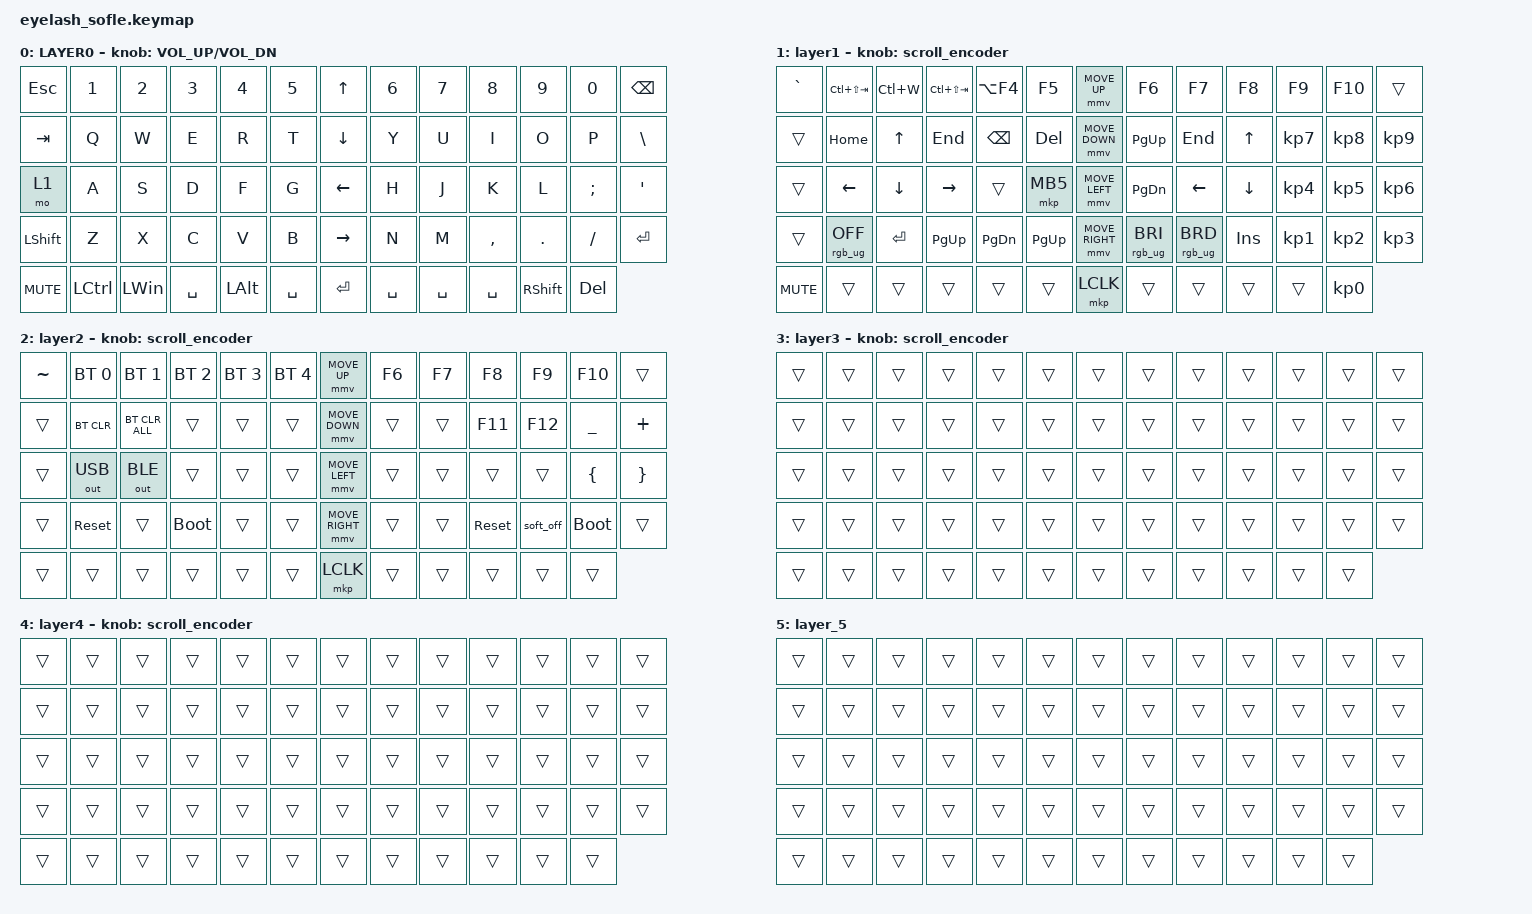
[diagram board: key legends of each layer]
#define ZMK_POINTING_DEFAULT_MOVE_VAL 1200  // 600
#define ZMK_POINTING_DEFAULT_SCRL_VAL 25   // 10

#include <input/processors.dtsi>
#include <zephyr/dt-bindings/input/input-event-codes.h>
#include <behaviors.dtsi>
#include <dt-bindings/zmk/bt.h>
#include <dt-bindings/zmk/keys.h>
#include <dt-bindings/zmk/outputs.h>
#include <dt-bindings/zmk/pointing.h>
#include <dt-bindings/zmk/rgb.h>

&mmv_input_listener { input-processors = <&zip_xy_scaler 2 1>; };

&msc_input_listener { input-processors = <&zip_scroll_scaler 2 1>; };

&msc {
    acceleration-exponent = <1>;      // 0
    time-to-max-speed-ms = <100>;       // 300
    delay-ms = <0>;                   // 0
};

&mmv {
    time-to-max-speed-ms = <500>;
    acceleration-exponent = <1>;
    trigger-period-ms = <16>;
};

&soft_off { hold-time-ms = <2000>; };

/ {
    scroll_encoder: scroll_encoder {
        compatible = "zmk,behavior-sensor-rotate";
        #sensor-binding-cells = <0>;
        bindings = <&msc SCRL_DOWN>, <&msc SCRL_UP>;

        tap-ms = <100>;
    };

    behaviors {
    };

    combos {
        compatible = "zmk,combos";

        softoff {
            bindings = <&soft_off>;
            key-positions = <14 28 40>;
        };
    };

    macros {
        SHIFT_MCLK: SHIFT_MCLK {
            compatible = "zmk,behavior-macro";
            #binding-cells = <0>;
            bindings =
                <&macro_press>,
                <&kp LEFT_SHIFT>,
                <&macro_press>,
                <&mkp MB3>,
                <&macro_pause_for_release>,
                <&macro_release>,
                <&kp LEFT_SHIFT &mkp MB3>;

            label = "SHIFT_MCLK";
        };
    };

    keymap {
        compatible = "zmk,keymap";

        layer0 {
            bindings = <
&kp ESC         &kp N1     &kp N2        &kp N3     &kp N4        &kp N5       &kp UP_ARROW     &kp N6     &kp N7     &kp N8     &kp N9           &kp N0      &kp BACKSPACE
&kp TAB         &kp Q      &kp W         &kp E      &kp R         &kp T        &kp DOWN_ARROW   &kp Y      &kp U      &kp I      &kp O            &kp P       &kp BSLH
&mo 1           &kp A      &kp S         &kp D      &kp F         &kp G        &kp LEFT_ARROW   &kp H      &kp J      &kp K      &kp L            &kp SEMI    &kp APOS
&kp LEFT_SHIFT  &kp Z      &kp X         &kp C      &kp V         &kp B        &kp RIGHT_ARROW  &kp N      &kp M      &kp COMMA  &kp DOT          &kp FSLH    &kp ENTER
&kp C_MUTE      &kp LCTRL  &kp LEFT_WIN  &kp SPACE  &kp LEFT_ALT  &kp SPACE    &kp ENTER        &kp SPACE  &kp SPACE  &kp SPACE  &kp RIGHT_SHIFT  &kp DELETE
            >;

            sensor-bindings = <&inc_dec_kp C_VOLUME_UP C_VOL_DN>;
            display-name = "LAYER0";
        };

        layer_1 {
            bindings = <
&kp GRAVE   &kp LC(LS(TAB))  &kp LC(W)     &kp LC(LS(TAB))  &kp LA(F4)     &kp F5        &mmv MOVE_UP     &kp F6           &kp F7           &kp F8      &kp F9           &kp F10          &trans
&trans      &kp HOME         &kp UP_ARROW  &kp END          &kp BACKSPACE  &kp DELETE    &mmv MOVE_DOWN   &kp PG_UP        &kp END          &kp UP      &kp KP_NUMBER_7  &kp KP_NUMBER_8  &kp KP_NUMBER_9
&trans      &kp LEFT         &kp DOWN      &kp RIGHT        &trans         &mkp MB5      &mmv MOVE_LEFT   &kp PG_DN        &kp LEFT         &kp DOWN    &kp KP_NUMBER_4  &kp KP_NUMBER_5  &kp KP_NUMBER_6
&trans      &rgb_ug RGB_OFF  &kp ENTER     &kp PG_UP        &kp PG_DN      &kp PG_UP     &mmv MOVE_RIGHT  &rgb_ug RGB_BRI  &rgb_ug RGB_BRD  &kp INSERT  &kp KP_NUMBER_1  &kp KP_NUMBER_2  &kp KP_NUMBER_3
&kp C_MUTE  &trans           &trans        &trans           &trans         &trans        &mkp LCLK        &trans           &trans           &trans      &trans           &kp KP_NUMBER_0
            >;

            display-name = "layer1";
            sensor-bindings = <&scroll_encoder>;
        };

        layer_2 {
            bindings = <
&kp TILDE  &bt BT_SEL 0  &bt BT_SEL 1    &bt BT_SEL 2  &bt BT_SEL 3  &bt BT_SEL 4    &mmv MOVE_UP     &kp F6  &kp F7  &kp F8      &kp F9     &kp F10      &trans
&trans     &bt BT_CLR    &bt BT_CLR_ALL  &trans        &trans        &trans          &mmv MOVE_DOWN   &trans  &trans  &kp F11     &kp F12    &kp UNDER    &kp PLUS
&trans     &out OUT_USB  &out OUT_BLE    &trans        &trans        &trans          &mmv MOVE_LEFT   &trans  &trans  &trans      &trans     &kp LBRC     &kp RBRC
&trans     &sys_reset    &trans          &bootloader   &trans        &trans          &mmv MOVE_RIGHT  &trans  &trans  &sys_reset  &soft_off  &bootloader  &trans
&trans     &trans        &trans          &trans        &trans        &trans          &mkp LCLK        &trans  &trans  &trans      &trans     &trans
            >;

            display-name = "layer2";
            sensor-bindings = <&scroll_encoder>;
        };

        layer_3 {
            bindings = <
&trans  &trans  &trans  &trans  &trans  &trans    &trans  &trans  &trans  &trans  &trans  &trans  &trans
&trans  &trans  &trans  &trans  &trans  &trans    &trans  &trans  &trans  &trans  &trans  &trans  &trans
&trans  &trans  &trans  &trans  &trans  &trans    &trans  &trans  &trans  &trans  &trans  &trans  &trans
&trans  &trans  &trans  &trans  &trans  &trans    &trans  &trans  &trans  &trans  &trans  &trans  &trans
&trans  &trans  &trans  &trans  &trans  &trans    &trans  &trans  &trans  &trans  &trans  &trans
            >;

            display-name = "layer3";
            sensor-bindings = <&scroll_encoder>;
        };

        layer_4 {
            bindings = <
&trans  &trans  &trans  &trans  &trans  &trans    &trans  &trans  &trans  &trans  &trans  &trans  &trans
&trans  &trans  &trans  &trans  &trans  &trans    &trans  &trans  &trans  &trans  &trans  &trans  &trans
&trans  &trans  &trans  &trans  &trans  &trans    &trans  &trans  &trans  &trans  &trans  &trans  &trans
&trans  &trans  &trans  &trans  &trans  &trans    &trans  &trans  &trans  &trans  &trans  &trans  &trans
&trans  &trans  &trans  &trans  &trans  &trans    &trans  &trans  &trans  &trans  &trans  &trans
            >;

            display-name = "layer4";
            sensor-bindings = <&scroll_encoder>;
        };

        layer_5 {
            bindings = <
&trans  &trans  &trans  &trans  &trans  &trans    &trans  &trans  &trans  &trans  &trans  &trans  &trans
&trans  &trans  &trans  &trans  &trans  &trans    &trans  &trans  &trans  &trans  &trans  &trans  &trans
&trans  &trans  &trans  &trans  &trans  &trans    &trans  &trans  &trans  &trans  &trans  &trans  &trans
&trans  &trans  &trans  &trans  &trans  &trans    &trans  &trans  &trans  &trans  &trans  &trans  &trans
&trans  &trans  &trans  &trans  &trans  &trans    &trans  &trans  &trans  &trans  &trans  &trans
            >;
        };
    };
};
